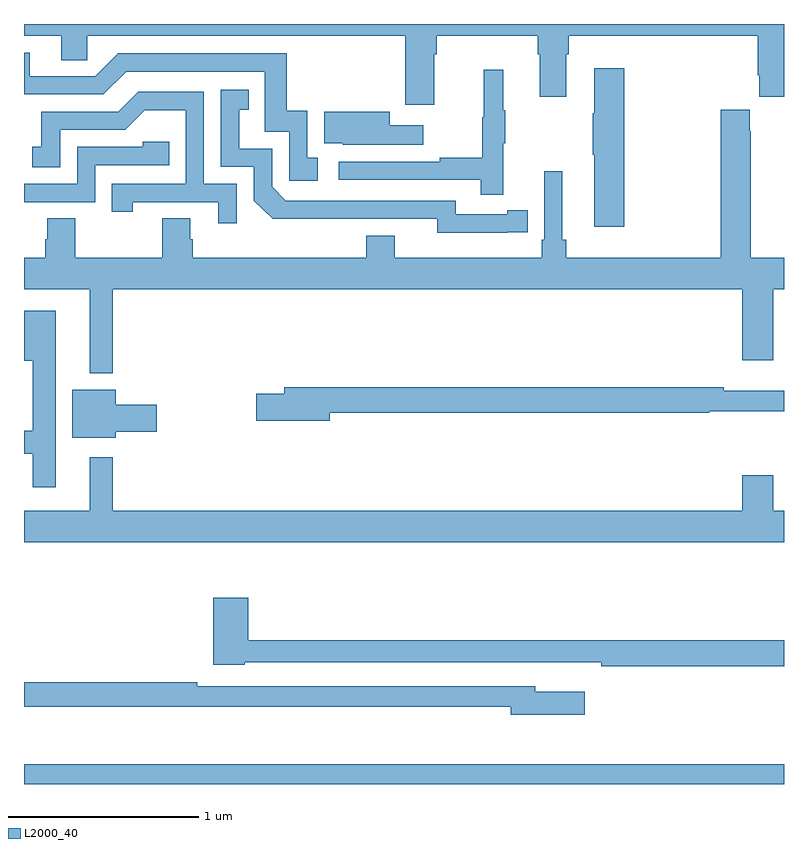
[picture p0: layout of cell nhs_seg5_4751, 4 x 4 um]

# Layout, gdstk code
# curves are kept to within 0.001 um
import gdstk
lib = gdstk.Library(unit=1e-6, precision=1e-09)
def R(c, l, rs):  # rectangles x0, y0, x1, y1
    for r in rs: c.add(gdstk.rectangle(r[:2], r[2:], *l))
def P(c, l, *ps):  # polygons
    for p in ps: c.add(gdstk.Polygon(p, *l))
L2000_40 = (2000, 40)

nhs_seg5_4751 = lib.new_cell('nhs_seg5_4751')
R(nhs_seg5_4751, L2000_40, [(389,876.799,393,876.904)])
P(nhs_seg5_4751, L2000_40, [(391.159,880.64),(391.172,880.64),(391.172,880.736),(391.703,880.736),(391.703,880.64),(391.715,880.64),(391.715,880.416),(391.855,880.416),(391.855,880.64),(391.868,880.64),(391.868,880.736),(392.861,880.736),(392.861,880.528),(392.87,880.528),(392.87,880.416),(393,880.416),(393,880.799),(389,880.799),(389,880.736),(389.195,880.736),(389.195,880.609),(389.334,880.609),(389.334,880.736),(391.007,880.736),(391.007,880.374),(391.159,880.374)],
  [(390.547,880.095),(390.492,880.095),(390.492,880.342),(390.383,880.342),(390.383,880.644),(389.496,880.644),(389.376,880.524),(389.029,880.524),(389.029,880.647),(389,880.647),(389,880.428),(389.418,880.428),(389.538,880.548),(390.267,880.548),(390.267,880.233),(390.396,880.233),(390.396,879.975),(390.547,879.975)],
  [(392.159,880.567),(392,880.567),(392,880.328),(391.993,880.328),(391.993,880.111),(392,880.111),(392,879.732),(392.159,879.732)],
  [(391.523,880.171),(391.534,880.171),(391.534,880.345),(391.523,880.345),(391.523,880.558),(391.42,880.558),(391.42,880.308),(391.413,880.308),(391.413,880.094),(391.189,880.094),(391.189,880.074),(390.657,880.074),(390.657,879.978),(391.405,879.978),(391.405,879.9),(391.523,879.9)],
  [(391.544,879.702),(391.652,879.702),(391.652,879.818),(391.544,879.818),(391.544,879.798),(391.272,879.798),(391.272,879.87),(390.378,879.87),(390.306,879.942),(390.306,880.143),(390.133,880.143),(390.133,880.347),(390.182,880.347),(390.182,880.453),(390.036,880.453),(390.036,880.047),(390.21,880.047),(390.21,879.87),(390.308,879.773),(391.176,879.774),(391.176,879.701)],
  [(390.12,879.957),(389.946,879.957),(389.946,880.443),(389.6,880.443),(389.495,880.338),(389.092,880.338),(389.092,880.153),(389.043,880.153),(389.043,880.044),(389.19,880.044),(389.19,880.242),(389.532,880.242),(389.636,880.346),(389.85,880.346),(389.85,879.957),(389.461,879.957),(389.461,879.81),(389.572,879.81),(389.572,879.861),(390.023,879.861),(390.023,879.75),(390.12,879.75)],
  [(389.467,879.404),(392.78,879.404),(392.78,879.03),(392.944,879.03),(392.944,879.404),(393,879.404),(393,879.568),(392.826,879.568),(392.826,880.235),(392.819,880.235),(392.819,880.348),(392.666,880.348),(392.666,879.568),(391.853,879.568),(391.853,879.664),(391.834,879.664),(391.834,880.024),(391.737,880.024),(391.737,879.664),(391.724,879.664),(391.724,879.568),(390.952,879.568),(390.952,879.685),(390.8,879.685),(390.8,879.568),(389.888,879.568),(389.888,879.666),(389.875,879.666),(389.875,879.776),(389.728,879.776),(389.728,879.568),(389.271,879.568),(389.271,879.776),(389.123,879.776),(389.123,879.666),(389.111,879.666),(389.111,879.568),(389,879.568),(389,879.404),(389.345,879.404),(389.345,878.96),(389.467,878.96)],
  [(391.102,880.267),(390.925,880.267),(390.925,880.336),(390.581,880.336),(390.581,880.172),(390.678,880.172),(390.678,880.163),(391.102,880.163)],
  [(389.376,880.056),(389.765,880.056),(389.765,880.179),(389.625,880.179),(389.625,880.152),(389.28,880.152),(389.28,879.957),(389,879.957),(389,879.861),(389.376,879.861)],
  [(389.167,879.289),(389,879.289),(389,879.026),(389.046,879.026),(389.046,878.659),(389,878.659),(389,878.538),(389.046,878.538),(389.046,878.361),(389.167,878.361)],
  [(390.61,878.752),(392.606,878.752),(392.606,878.76),(393,878.76),(393,878.869),(392.684,878.869),(392.684,878.888),(390.371,878.888),(390.371,878.852),(390.222,878.852),(390.222,878.71),(390.61,878.71)],
  [(389.482,878.653),(389.698,878.653),(389.698,878.795),(389.482,878.795),(389.482,878.875),(389.255,878.875),(389.255,878.621),(389.482,878.621)],
  [(393,878.236),(392.944,878.236),(392.944,878.425),(392.78,878.425),(392.78,878.236),(389.467,878.236),(389.467,878.518),(389.345,878.518),(389.345,878.236),(389,878.236),(389,878.072),(393,878.072)],
  [(393,877.556),(390.179,877.556),(390.179,877.78),(389.996,877.78),(389.996,877.427),(390.162,877.427),(390.162,877.44),(391.786,877.44),(391.786,877.439),(392.038,877.439),(392.038,877.42),(393,877.42)],
  [(391.951,877.285),(391.69,877.285),(391.69,877.314),(389.912,877.314),(389.912,877.334),(389,877.334),(389,877.206),(391.562,877.206),(391.562,877.163),(391.951,877.163)])

lib.write_gds('nhs_seg5_4751.gds')
